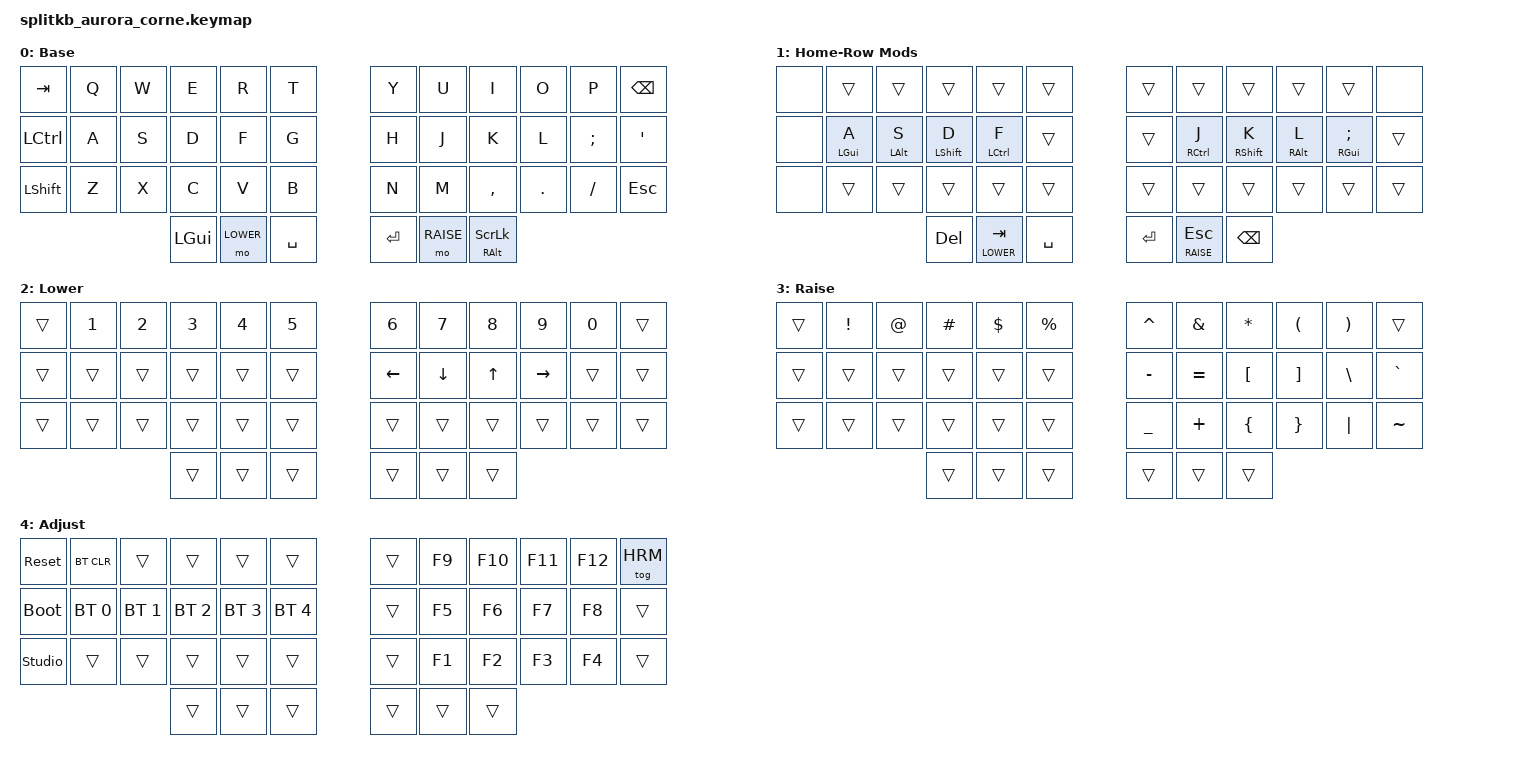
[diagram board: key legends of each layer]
#include <behaviors.dtsi>
#include <dt-bindings/zmk/bt.h>
#include <dt-bindings/zmk/keys.h>

#define BASE 0
#define HRM 1
#define LOWER 2
#define RAISE 3
#define ADJUST 4

&mt {
    quick-tap-ms = <100>;
    global-quick-tap;
    flavor = "tap-preferred";
    tapping-term-ms = <170>;
};

/ {
    keymap {
        compatible = "zmk,keymap";

        base {
            label = "Base";
            bindings = <
&kp TAB    &kp Q  &kp W  &kp E     &kp R      &kp T        &kp Y       &kp U      &kp I                &kp O    &kp P     &kp BSPC
&kp LCTRL  &kp A  &kp S  &kp D     &kp F      &kp G        &kp H       &kp J      &kp K                &kp L    &kp SEMI  &kp SQT
&kp LSHFT  &kp Z  &kp X  &kp C     &kp V      &kp B        &kp N       &kp M      &kp COMMA            &kp DOT  &kp FSLH  &kp ESC
                         &kp LGUI  &mo LOWER  &kp SPACE    &kp RETURN  &mo RAISE  &mt RALT SCROLLLOCK
            >;
        };

        hrm {
            label = "Home-Row Mods";
            bindings = <
&none  &trans      &trans      &trans       &trans         &trans       &trans   &trans         &trans       &trans      &trans         &none
&none  &mt LGUI A  &mt LALT S  &mt LSHFT D  &mt LCTRL F    &trans       &trans   &mt RCTRL J    &mt RSHFT K  &mt RALT L  &mt RGUI SEMI  &trans
&none  &trans      &trans      &trans       &trans         &trans       &trans   &trans         &trans       &trans      &trans         &trans
                               &kp DEL      &lt LOWER TAB  &kp SPACE    &kp RET  &lt RAISE ESC  &kp BSPC
            >;
        };

        lower {
            label = "Lower";
            bindings = <
&trans  &kp N1  &kp N2  &kp N3  &kp N4  &kp N5    &kp N6    &kp N7    &kp N8  &kp N9     &kp N0  &trans
&trans  &trans  &trans  &trans  &trans  &trans    &kp LEFT  &kp DOWN  &kp UP  &kp RIGHT  &trans  &trans
&trans  &trans  &trans  &trans  &trans  &trans    &trans    &trans    &trans  &trans     &trans  &trans
                        &trans  &trans  &trans    &trans    &trans    &trans
            >;
        };

        raise {
            label = "Raise";
            bindings = <
&trans  &kp EXCL  &kp AT  &kp HASH  &kp DLLR  &kp PRCNT    &kp CARET  &kp AMPS   &kp ASTRK  &kp LPAR  &kp RPAR  &trans
&trans  &trans    &trans  &trans    &trans    &trans       &kp MINUS  &kp EQUAL  &kp LBKT   &kp RBKT  &kp BSLH  &kp GRAVE
&trans  &trans    &trans  &trans    &trans    &trans       &kp UNDER  &kp PLUS   &kp LBRC   &kp RBRC  &kp PIPE  &kp TILDE
                          &trans    &trans    &trans       &trans     &trans     &trans
            >;
        };

        adjust {
            label = "Adjust";
            bindings = <
&sys_reset      &bt BT_CLR    &trans        &trans        &trans        &trans          &trans  &kp F9  &kp F10  &kp F11  &kp F12  &tog HRM
&bootloader     &bt BT_SEL 0  &bt BT_SEL 1  &bt BT_SEL 2  &bt BT_SEL 3  &bt BT_SEL 4    &trans  &kp F5  &kp F6   &kp F7   &kp F8   &trans
&studio_unlock  &trans        &trans        &trans        &trans        &trans          &trans  &kp F1  &kp F2   &kp F3   &kp F4   &trans
                                            &trans        &trans        &trans          &trans  &trans  &trans
            >;
        };
    };

    conditional_layers {
        compatible = "zmk,conditional-layers";

        adjust {
            if-layers = <LOWER RAISE>;
            then-layer = <ADJUST>;
        };
    };
};

